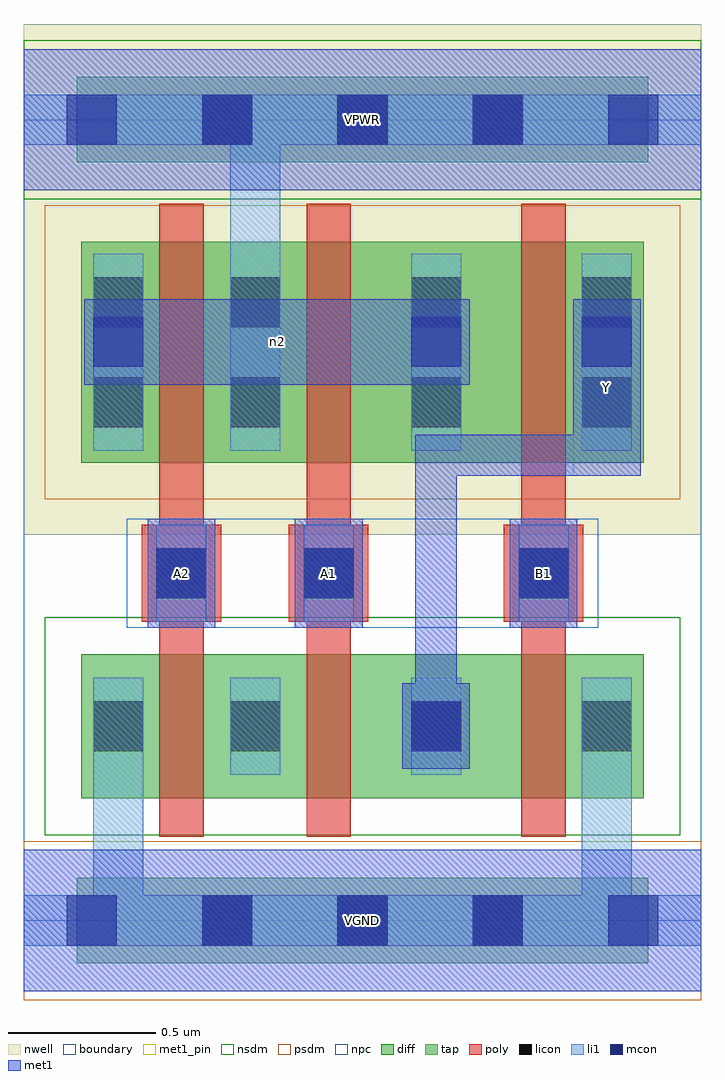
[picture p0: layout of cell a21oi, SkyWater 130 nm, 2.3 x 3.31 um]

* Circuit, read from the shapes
.subckt a21oi A1 A2 B1 VGND VPWR Y n2
XM1 n1 A2 VGND VGND sky130_fd_pr__nfet_01v8 w=0.49 l=0.15
XM2 Y A1 n1 VGND sky130_fd_pr__nfet_01v8 w=0.49 l=0.15
XM3 VGND B1 Y VGND sky130_fd_pr__nfet_01v8 w=0.49 l=0.15
XM4 VPWR A2 n2 VPWR sky130_fd_pr__pfet_01v8 w=0.75 l=0.15
XM5 n2 A1 VPWR VPWR sky130_fd_pr__pfet_01v8 w=0.75 l=0.15
XM6 Y B1 n2 VPWR sky130_fd_pr__pfet_01v8 w=0.75 l=0.15
.ends

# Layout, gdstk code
import gdstk
lib = gdstk.Library(unit=1e-6, precision=1e-09)
def R(c, l, rs):  # rectangles x0, y0, x1, y1
    for r in rs: c.add(gdstk.rectangle(r[:2], r[2:], *l))
def A(c, l, x, y, w, h, nx, ny, dx, dy):  # array of equal rectangles
    R(c, l, [(x+i*dx, y+j*dy, x+i*dx+w, y+j*dy+h) for i in range(nx) for j in range(ny)])
nwell = (64, 20)
diff = (65, 20)
tap = (65, 44)
poly = (66, 20)
licon = (66, 44)
li1 = (67, 20)
mcon = (67, 44)
met1_pin = (68, 16)
met1 = (68, 20)
nsdm = (93, 44)
psdm = (94, 20)
npc = (95, 20)
boundary = (235, 4)

a21oi = lib.new_cell('a21oi')
R(a21oi, nwell, [(0,1.31,2.3,3.045)])
R(a21oi, diff, [(0.195,0.415,2.105,0.905), (0.195,1.555,2.105,2.305)])
R(a21oi, tap, [(0.18,-0.145,2.12,0.145), (0.18,2.575,2.12,2.865)])
R(a21oi, poly, [(0.46,0.285,0.61,2.435), (0.96,0.285,1.11,2.435), (1.69,0.285,1.84,2.435), (0.4,1.015,0.67,1.345), (0.9,1.015,1.17,1.345), (1.63,1.015,1.9,1.345)])
A(a21oi, licon, 0.605, -0.085, 0.17, 0.17, 3, 2, 0.46, 2.72)
R(a21oi, licon, [(0.235,0.575,0.405,0.745), (0.7,0.575,0.87,0.745), (1.315,0.575,1.485,0.745), (1.895,0.575,2.065,0.745), (0.45,1.095,0.62,1.265), (0.95,1.095,1.12,1.265), (1.68,1.095,1.85,1.265), (0.235,1.675,0.405,1.845), (0.7,1.675,0.87,1.845), (1.315,1.675,1.485,1.845), (1.895,1.675,2.065,1.845), (0.235,2.015,0.405,2.185), (0.7,2.015,0.87,2.185), (1.315,2.015,1.485,2.185), (1.895,2.015,2.065,2.185)])
R(a21oi, li1, [(0,-0.085,2.3,0.085), (0.235,-0.085,0.405,0.825), (1.895,-0.085,2.065,0.825), (0.235,0.495,0.405,0.825), (0.7,0.495,0.87,0.825), (1.315,0.495,1.485,0.825), (1.895,0.495,2.065,0.825), (0.45,1.015,0.62,1.345), (0.95,1.015,1.12,1.345), (1.68,1.015,1.85,1.345), (0.235,1.595,0.405,2.265), (0.7,1.595,0.87,2.265), (0.7,1.595,0.87,2.805), (1.315,1.595,1.485,2.265), (1.895,1.595,2.065,2.265), (0,2.635,2.3,2.805)])
A(a21oi, mcon, 0.145, -0.085, 0.17, 0.17, 5, 2, 0.46, 2.72)
R(a21oi, mcon, [(1.315,0.575,1.485,0.745), (0.45,1.095,0.62,1.265), (0.95,1.095,1.12,1.265), (1.68,1.095,1.85,1.265), (0.235,1.88,0.405,2.05), (1.315,1.88,1.485,2.05), (1.895,1.88,2.065,2.05)])
R(a21oi, met1_pin, [(0,-0.24,2.3,0.24), (0.42,0.995,0.65,1.365), (0.92,0.995,1.15,1.365), (1.65,0.995,1.88,1.365), (1.865,1.51,2.095,2.11), (0,2.48,2.3,2.96)])
R(a21oi, met1, [(0,-0.24,2.3,0.24), (1.285,0.515,1.515,0.805), (1.33,0.66,1.47,1.65), (0.42,0.995,0.65,1.365), (0.92,0.995,1.15,1.365), (1.65,0.995,1.88,1.365), (1.33,1.51,2.095,1.65), (1.865,1.51,2.095,2.11), (0.205,1.82,1.515,2.11), (0,2.48,2.3,2.96)])
R(a21oi, nsdm, [(0.07,0.29,2.23,1.03), (0,2.45,2.3,2.99)])
R(a21oi, psdm, [(0,-0.27,2.3,0.27), (0.07,1.43,2.23,2.43)])
R(a21oi, npc, [(0.35,0.995,1.95,1.365)])
R(a21oi, boundary, [(0,0,2.3,2.72)])
a21oi.add(gdstk.Label('A2', (0.535,1.18), layer=68, texttype=5))
a21oi.add(gdstk.Label('A1', (1.035,1.18), layer=68, texttype=5))
a21oi.add(gdstk.Label('B1', (1.765,1.18), layer=68, texttype=5))
a21oi.add(gdstk.Label('Y', (1.98,1.81), layer=68, texttype=5))
a21oi.add(gdstk.Label('VPWR', (1.15,2.72), layer=68, texttype=5))
a21oi.add(gdstk.Label('VGND', (1.15,0), layer=68, texttype=5))
a21oi.add(gdstk.Label('n2', (0.86,1.965), layer=68, texttype=5))
a21oi.add(gdstk.Label('A2', (0.535,1.18), layer=68, texttype=16))
a21oi.add(gdstk.Label('A1', (1.035,1.18), layer=68, texttype=16))
a21oi.add(gdstk.Label('B1', (1.765,1.18), layer=68, texttype=16))
a21oi.add(gdstk.Label('Y', (1.98,1.81), layer=68, texttype=16))
a21oi.add(gdstk.Label('VPWR', (1.15,2.72), layer=68, texttype=16))
a21oi.add(gdstk.Label('VGND', (1.15,0), layer=68, texttype=16))

lib.write_gds('a21oi.gds')
